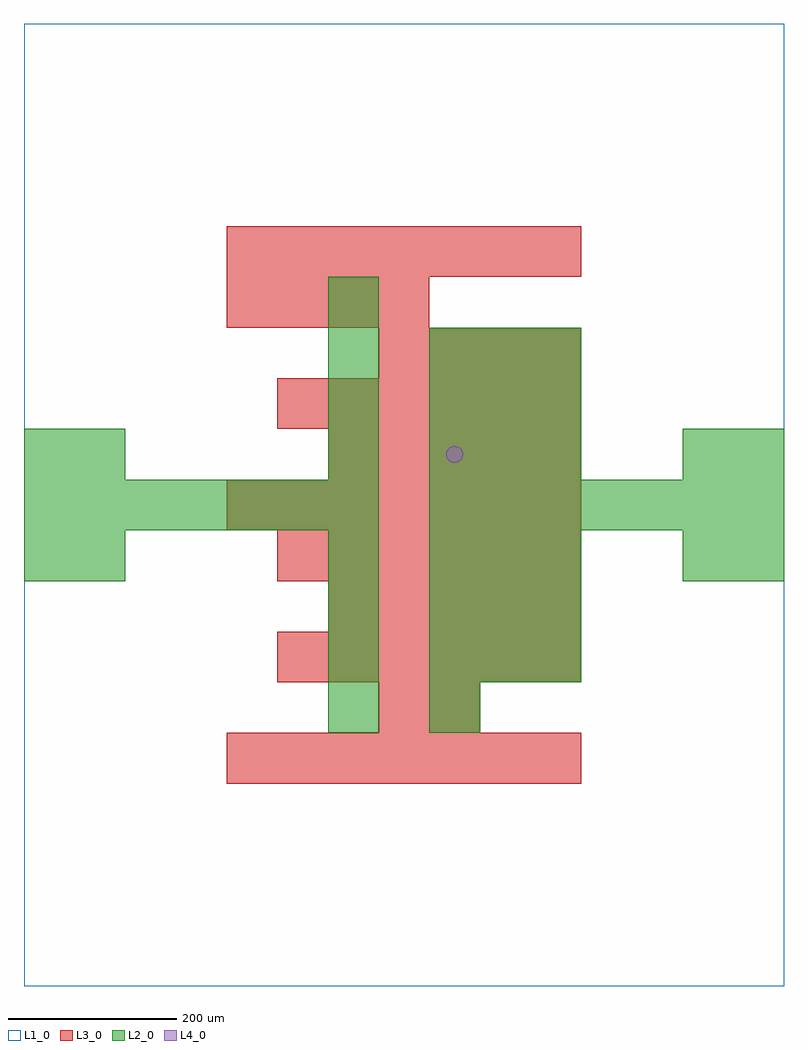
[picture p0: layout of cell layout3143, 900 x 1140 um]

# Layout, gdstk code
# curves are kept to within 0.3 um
import gdstk
lib = gdstk.Library(unit=1e-6, precision=1e-09)
def R(c, l, rs):  # rectangles x0, y0, x1, y1
    for r in rs: c.add(gdstk.rectangle(r[:2], r[2:], *l))
def A(c, l, x, y, w, h, nx, ny, dx, dy):  # array of equal rectangles
    R(c, l, [(x+i*dx, y+j*dy, x+i*dx+w, y+j*dy+h) for i in range(nx) for j in range(ny)])
def P(c, l, *ps):  # polygons
    for p in ps: c.add(gdstk.Polygon(p, *l))
L1_0 = (1, 0)
L2_0 = (2, 0)
L3_0 = (3, 0)
L4_0 = (4, 0)

layout3143 = lib.new_cell('layout3143')
R(layout3143, L1_0, [(0,0,900,1140)])
A(layout3143, L2_0, 360, 300, 60, 60, 1, 4, 0, 60)
A(layout3143, L2_0, 480, 360, 60, 60, 3, 3, 60, 60)
A(layout3143, L2_0, 0, 540, 60, 60, 7, 1, 60, 0)
A(layout3143, L2_0, 480, 540, 60, 60, 7, 1, 60, 0)
A(layout3143, L2_0, 360, 600, 60, 60, 1, 4, 0, 60)
A(layout3143, L2_0, 480, 600, 60, 60, 3, 3, 60, 60)
R(layout3143, L2_0, [(480,300,540,360), (0,480,60,540), (60,480,120,540), (780,480,840,540), (840,480,900,540), (0,600,60,660), (60,600,120,660), (780,600,840,660), (840,600,900,660)])
A(layout3143, L3_0, 240, 240, 60, 60, 7, 3, 60, 300)
A(layout3143, L3_0, 300, 360, 60, 60, 6, 2, 60, 120)
A(layout3143, L3_0, 360, 420, 60, 60, 5, 2, 60, 180)
A(layout3143, L3_0, 300, 660, 60, 60, 6, 1, 60, 0)
A(layout3143, L3_0, 420, 720, 60, 60, 4, 1, 60, 0)
A(layout3143, L3_0, 240, 780, 60, 60, 4, 1, 60, 0)
R(layout3143, L3_0, [(420,300,480,360), (480,300,540,360)])
P(layout3143, L4_0, [(520,630),(519.239,633.827),(517.071,637.071),(513.827,639.239),(510,640),(506.173,639.239),(502.929,637.071),(500.761,633.827),(500,630),(500.761,626.173),(502.929,622.929),(506.173,620.761),(510,620),(513.827,620.761),(517.071,622.929),(519.239,626.173)])

lib.write_gds('layout3143.gds')
